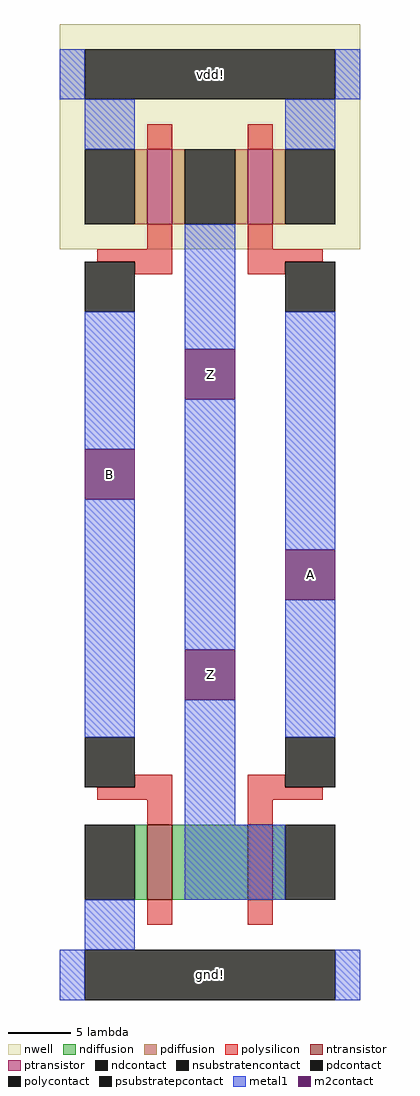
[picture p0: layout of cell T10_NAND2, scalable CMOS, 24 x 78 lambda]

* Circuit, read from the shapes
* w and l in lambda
.subckt T10_NAND2 A B Z gnd! vdd!
M1 n1 B gnd! gnd! nfet w=6 l=2
M2 Z A n1 gnd! nfet w=6 l=2
M3 Z B vdd! vdd! pfet w=6 l=2
M4 vdd! A Z vdd! pfet w=6 l=2
.ends

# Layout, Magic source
magic
tech scmos
<< nwell >>
rect 0 62 24 80
<< polysilicon >>
rect 7 70 9 72
rect 15 70 17 72
rect 7 62 9 64
rect 3 61 9 62
rect 6 60 9 61
rect 15 62 17 64
rect 15 61 21 62
rect 15 60 18 61
rect 6 19 9 20
rect 3 18 9 19
rect 7 16 9 18
rect 15 19 18 20
rect 15 18 21 19
rect 15 16 17 18
rect 7 8 9 10
rect 15 8 17 10
<< ndiffusion >>
rect 6 10 7 16
rect 9 10 15 16
rect 17 10 18 16
<< pdiffusion >>
rect 6 64 7 70
rect 9 64 10 70
rect 14 64 15 70
rect 17 64 18 70
<< metal1 >>
rect 0 74 2 78
rect 22 74 24 78
rect 2 70 6 74
rect 18 70 22 74
rect 2 46 6 57
rect 2 23 6 42
rect 10 54 14 64
rect 10 30 14 50
rect 10 16 14 26
rect 18 38 22 57
rect 18 23 22 34
rect 10 10 18 16
rect 2 6 6 10
rect 0 2 2 6
rect 22 2 24 6
<< ntransistor >>
rect 7 10 9 16
rect 15 10 17 16
<< ptransistor >>
rect 7 64 9 70
rect 15 64 17 70
<< polycontact >>
rect 2 57 6 61
rect 18 57 22 61
rect 2 19 6 23
rect 18 19 22 23
<< ndcontact >>
rect 2 10 6 16
rect 18 10 22 16
<< pdcontact >>
rect 2 64 6 70
rect 10 64 14 70
rect 18 64 22 70
<< m2contact >>
rect 2 42 6 46
rect 10 50 14 54
rect 10 26 14 30
rect 18 34 22 38
<< psubstratepcontact >>
rect 2 2 22 6
<< nsubstratencontact >>
rect 2 74 22 78
<< labels >>
rlabel psubstratepcontact 2 2 22 6 1 gnd!
rlabel nsubstratencontact 2 74 22 78 5 vdd!
rlabel m2contact 18 34 22 38 7 A
rlabel m2contact 10 50 14 54 1 Z
rlabel m2contact 2 42 6 46 3 B
rlabel m2contact 10 26 14 30 1 Z
<< end >>
